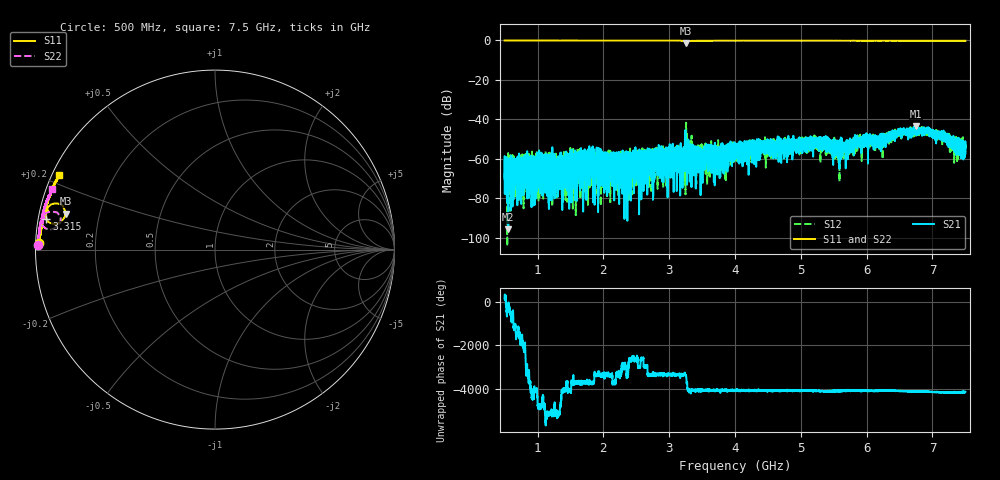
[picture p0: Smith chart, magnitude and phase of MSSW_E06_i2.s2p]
!Keysight Technologies,M9374A,MY55442783,A.12.55.05
!Date: Thursday, May 20, 2021 14:21:58
!Correction: S11(Full 2 Port(1,2))
!S21(Full 2 Port(1,2))
!S12(Full 2 Port(1,2))
!S22(Full 2 Port(1,2))
!S2P File: Measurements: S11, S21, S12, S22:
# Hz S  RI  R 50
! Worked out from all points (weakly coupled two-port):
!   7001 points, 500 MHz to 7.5 GHz, reference 50 ohm
!   highest |S21| = -43.52 dB at 6.746 GHz (marker M1); lowest = -95.7 dB at 555 MHz (marker M2)
!   lowest |S11| = -1.4 dB at 3.25 GHz (marker M3), VSWR 12.83, Z = 3.95 + j5.88 ohm
!   |S11| at or under -10 dB: nowhere
!   |S22| runs from -1.2 to -0.1 dB; largest |S21 - S12| = 0.0087
!   S11 on the Smith chart (normalised r, x): 500 MHz: 0.01, +0.02; 3.315 GHz: 0.02, +0.09; 7.5 GHz: 0.02, +0.23
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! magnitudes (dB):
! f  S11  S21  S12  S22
! 500 MHz  -0.1  -70.2  -69.6  -0.1
! 555 MHz  -0.1  -95.7  -79.7  -0.1
! 962 MHz  -0.2  -65.3  -80.3  -0.1
! 1.109 GHz  -0.2  -58.4  -61.1  -0.1
! 1.387 GHz  -0.2  -73.4  -71.3  -0.1
! 1.667 GHz  -0.2  -62.4  -63.6  -0.1
! 1.962 GHz  -0.2  -57.9  -69.0  -0.1
! 2.356 GHz  -0.2  -57.6  -61.4  -0.1
! 2.452 GHz  -0.2  -67.0  -57.2  -0.1
! 2.834 GHz  -0.2  -57.0  -56.0  -0.1
! 3.2 GHz  -0.4  -57.6  -57.3  -0.3
! 3.25 GHz  -1.4  -49.6  -47.8  -1.2
! 3.315 GHz  -0.4  -60.7  -53.2  -0.3
! 3.394 GHz  -0.4  -64.3  -63.6  -0.2
! 3.493 GHz  -0.3  -56.6  -60.8  -0.2
! 4 GHz  -0.3  -57.8  -53.8  -0.2
! 5.167 GHz  -0.3  -50.0  -49.0  -0.2
! 5.583 GHz  -0.3  -54.4  -52.8  -0.2
! 6.334 GHz  -0.3  -50.6  -46.7  -0.2
! 6.746 GHz  -0.3  -43.5  -45.5  -0.3
! 7.199 GHz  -0.3  -47.0  -50.6  -0.3
! 7.5 GHz  -0.3  -54.4  -56.8  -0.3
